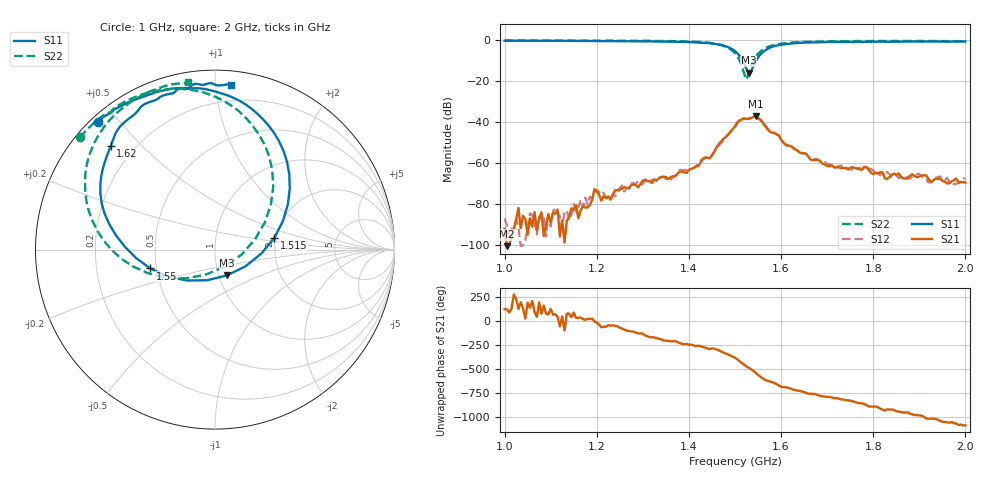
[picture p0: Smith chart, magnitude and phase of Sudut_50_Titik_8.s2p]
# Hz S RI R 50
! CMT, C1220, 16058040, 17.2.0/1
! Date: 14/08/2018 12:04:03
! Data: Format (Calibration Info)
! Freq  S11: Re/Im (F2)  S21: Re/Im (F2)  S12: Re/Im (F2)  S22: Re/Im (F2)
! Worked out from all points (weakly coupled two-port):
!   201 points, 1 GHz to 2 GHz, reference 50 ohm
!   highest |S21| = -37.22 dB at 1.545 GHz (marker M1); lowest = -100.7 dB at 1.005 GHz (marker M2)
!   lowest |S11| = -16.0 dB at 1.53 GHz (marker M3), VSWR 1.38, Z = 54.8 - j16.1 ohm
!   |S11| at or under -10 dB: 1.516 GHz to 1.546 GHz (29.74 MHz wide, 1.94 % of centre)
!   |S22| runs from -19.2 to -0.2 dB; largest |S21 - S12| = 0.00059
!   S11 on the Smith chart (normalised r, x): 1 GHz: 0.02, +0.44; 1.515 GHz: 1.96, +0.29; 1.55 GHz: 0.46, -0.11; 1.62 GHz: 0.12, +0.41; 2 GHz: 0.09, +1.10
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1e9  -0.6529 0.7097  -1.2e-05 2.21e-05  9.46e-06 -4.34e-05  -0.7535 0.6256
1.005e9  -0.646 0.7144  -4.32e-06 8.19e-06  2.99e-05 3.74e-06  -0.7498 0.6296
1.17e9  -0.4845 0.821  8.5e-05 2.41e-05  6.25e-05 5.5e-05  -0.6163 0.7514
1.185e9  -0.4607 0.8301  8.85e-05 2.78e-05  0.000148 1.81e-05  -0.599 0.7608
1.195e9  -0.4477 0.8347  0.000226 -3.67e-05  0.000197 4.12e-05  -0.5868 0.7648
1.23e9  -0.4055 0.8502  7.72e-05 -0.0001  2.32e-05 -0.000133  -0.5604 0.7885
1.255e9  -0.3602 0.8658  3.11e-05 -0.000237  2.58e-05 -0.00028  -0.5287 0.8088
1.335e9  -0.2276 0.8982  -0.000421 5.48e-05  -0.000414 9.59e-05  -0.3997 0.8663
1.42e9  0.0362 0.8704  -0.000138 0.000823  -0.000121 0.000936  -0.1405 0.8907
1.465e9  0.2618 0.732  0.0018 0.00229  0.00175 0.00195  0.1309 0.773
1.5e9  0.4165 0.3394  0.00715 -0.00311  0.0068 -0.00291  0.3241 0.3484
1.515e9  0.3298 0.065  0.0021 -0.0113  0.00244 -0.0113  0.2229 0.0567
1.525e9  0.1708 -0.0924  -0.00518 -0.0106  -0.00523 -0.0107  0.0522 -0.0961
1.53e9  0.068 -0.1435  -0.00744 -0.0094  -0.00755 -0.00948  -0.0546 -0.1406
1.545e9  -0.2648 -0.1491  -0.0138 0.000565  -0.0136 0.000245  -0.3711 -0.1322
1.55e9  -0.361 -0.1047  -0.0115 0.00489  -0.0117 0.00452  -0.4554 -0.0948
1.58e9  -0.6317 0.2581  0.000519 0.00546  0.000825 0.00561  -0.7027 0.2143
1.62e9  -0.5812 0.577  0.00247 0.000773  0.00231 0.000715  -0.7088 0.4962
1.67e9  -0.4591 0.7451  0.000905 -0.000745  0.00101 -0.000788  -0.6259 0.6731
1.835e9  -0.1586 0.8974  -0.000418 0.000172  -0.000517 0.00016  -0.3751 0.8747
1.97e9  0.0386 0.9161  0.000313 0.00017  0.000282 6.33e-05  -0.183 0.9248
2e9  0.0876 0.9196  0.000328 -3.27e-05  0.000422 -3.46e-05  -0.1508 0.9337
